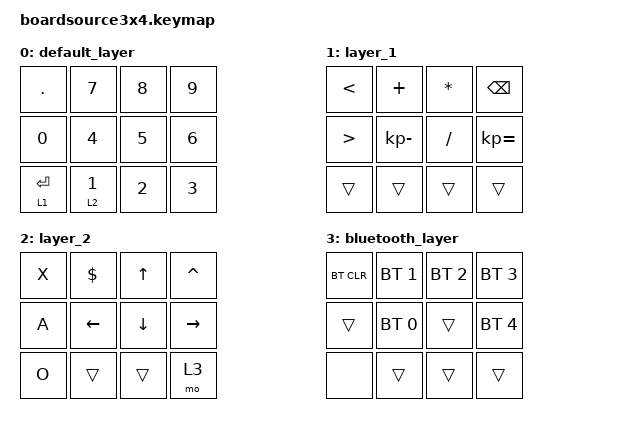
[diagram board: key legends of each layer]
/*
 * Copyright (c) 2020 The ZMK Contributors
 *
 * SPDX-License-Identifier: MIT
 */

#include <behaviors.dtsi>
#include <dt-bindings/zmk/bt.h>
#include <dt-bindings/zmk/keys.h>

/ {
    keymap {
        compatible = "zmk,keymap";

        default_layer {
            bindings = <
  &kp PERIOD    &kp NUMBER_7  &kp NUMBER_8  &kp NUMBER_9
&kp NUMBER_0    &kp NUMBER_4  &kp NUMBER_5  &kp NUMBER_6
 &lt 1 ENTER  &lt 2 NUMBER_1  &kp NUMBER_2  &kp NUMBER_3
            >;
        };

        layer_1 {
            bindings = <
   &kp LESS_THAN      &kp PLUS  &kp ASTERISK  &kp BACKSPACE
&kp GREATER_THAN  &kp KP_MINUS     &kp SLASH   &kp KP_EQUAL
          &trans        &trans        &trans         &trans
            >;
        };

        layer_2 {
            bindings = <
&kp X  &kp DOLLAR  &kp UP_ARROW  &kp CARET
&kp A    &kp LEFT      &kp DOWN  &kp RIGHT
&kp O      &trans        &trans      &mo 3
            >;
        };

        bluetooth_layer {
            bindings = <
&bt BT_CLR  &bt BT_SEL 1  &bt BT_SEL 2  &bt BT_SEL 3
    &trans  &bt BT_SEL 0        &trans  &bt BT_SEL 4
     &none        &trans        &trans        &trans
            >;
        };
    };
};
